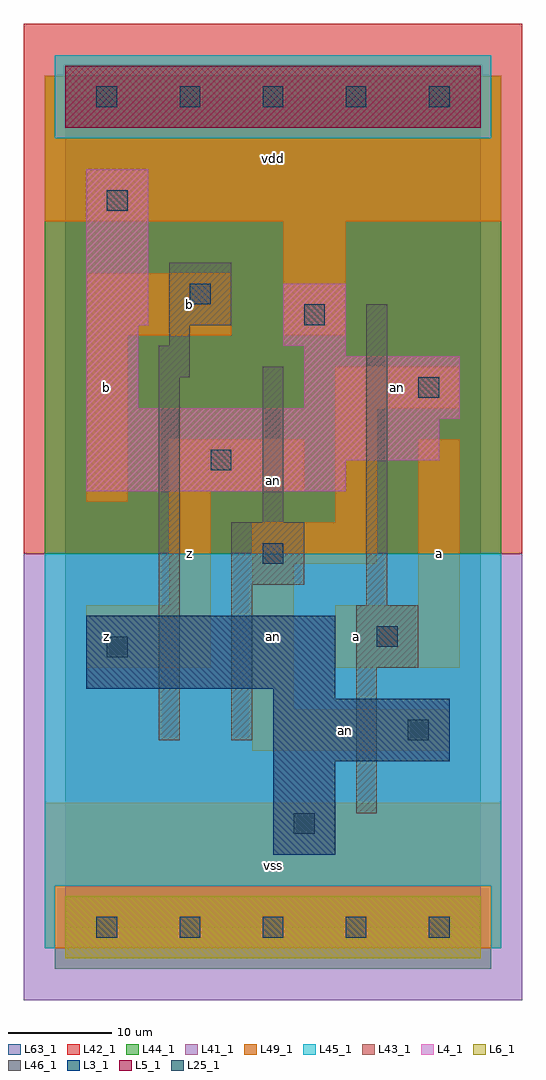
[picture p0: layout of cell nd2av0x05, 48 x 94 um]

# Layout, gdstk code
import gdstk
lib = gdstk.Library(unit=1e-6, precision=1e-09)
def R(c, l, rs):  # rectangles x0, y0, x1, y1
    for r in rs: c.add(gdstk.rectangle(r[:2], r[2:], *l))
def A(c, l, x, y, w, h, nx, ny, dx, dy):  # array of equal rectangles
    R(c, l, [(x+i*dx, y+j*dy, x+i*dx+w, y+j*dy+h) for i in range(nx) for j in range(ny)])
L3_1 = (3, 1)
L4_1 = (4, 1)
L5_1 = (5, 1)
L6_1 = (6, 1)
L25_1 = (25, 1)
L41_1 = (41, 1)
L42_1 = (42, 1)
L43_1 = (43, 1)
L44_1 = (44, 1)
L45_1 = (45, 1)
L46_1 = (46, 1)
L49_1 = (49, 1)
L63_1 = (63, 1)

nd2av0x05 = lib.new_cell('nd2av0x05')
R(nd2av0x05, L3_1, [(20,7,26,16), (20,16,37,22), (20,22,26,23), (2,23,26,30)])
R(nd2av0x05, L4_1, [(2,42,27,45), (2,45,36,49), (2,49,38,50), (2,50,7,58), (23,50,38,55), (23,55,27,56), (21,56,27,62), (2,58,8,73)])
R(nd2av0x05, L5_1, [(0,77,40,83)])
R(nd2av0x05, L6_1, [(0,-3,40,3), (0,-3,40,3)])
A(nd2av0x05, L25_1, 3, -1, 2, 2, 5, 2, 8, 80)
R(nd2av0x05, L25_1, [(22,9,24,11), (33,18,35,20), (4,26,6,28), (30,27,32,29), (19,35,21,37), (14,44,16,46), (34,51,36,53), (23,58,25,60), (12,60,14,62), (4,69,6,71)])
R(nd2av0x05, L41_1, [(-4,-7,44,36)])
R(nd2av0x05, L42_1, [(-4,36,44,87)])
R(nd2av0x05, L43_1, [(0,-3,40,3), (20,7,26,16), (20,16,37,22), (20,22,26,23), (2,23,26,30), (2,42,27,45), (2,45,36,49), (2,49,38,50), (2,50,7,58), (23,50,38,55), (23,55,27,56), (21,56,27,62), (2,58,8,73), (0,77,40,83)])
R(nd2av0x05, L44_1, [(-1,-4,41,4), (-2,36,42,76), (-2,76,-1,82), (41,76,42,82)])
R(nd2av0x05, L45_1, [(-2,-2,-1,4), (41,-2,42,4), (-2,4,42,36), (-1,76,41,84)])
R(nd2av0x05, L46_1, [(28,11,30,25), (9,18,11,53), (16,18,18,33), (28,25,34,31), (29,31,31,60), (16,33,23,39), (19,39,21,54), (9,53,12,56), (10,56,12,58), (10,58,16,64)])
R(nd2av0x05, L49_1, [(-2,-2,42,12), (18,17,37,21), (18,21,22,35), (2,25,14,31), (26,25,38,31), (10,31,14,42), (34,31,38,47), (18,35,30,39), (26,39,30,50), (2,41,6,57), (10,42,23,47), (26,50,38,54), (2,57,16,63), (21,57,27,68), (-2,68,42,82)])
R(nd2av0x05, L63_1, [(0,0,40,80)])
nd2av0x05.add(gdstk.Label('an', (20,43), layer=46, texttype=1))
nd2av0x05.add(gdstk.Label('z', (4,28), layer=49, texttype=1))
nd2av0x05.add(gdstk.Label('b', (4,52), layer=49, texttype=1))
nd2av0x05.add(gdstk.Label('z', (12,36), layer=49, texttype=1))
nd2av0x05.add(gdstk.Label('b', (12,60), layer=49, texttype=1))
nd2av0x05.add(gdstk.Label('vss', (20,6), layer=49, texttype=1))
nd2av0x05.add(gdstk.Label('an', (20,28), layer=49, texttype=1))
nd2av0x05.add(gdstk.Label('a', (28,28), layer=49, texttype=1))
nd2av0x05.add(gdstk.Label('z', (20,44), layer=49, texttype=1))
nd2av0x05.add(gdstk.Label('vdd', (20,74), layer=49, texttype=1))
nd2av0x05.add(gdstk.Label('an', (27,19), layer=49, texttype=1))
nd2av0x05.add(gdstk.Label('a', (36,36), layer=49, texttype=1))
nd2av0x05.add(gdstk.Label('an', (32,52), layer=49, texttype=1))

lib.write_gds('nd2av0x05.gds')
